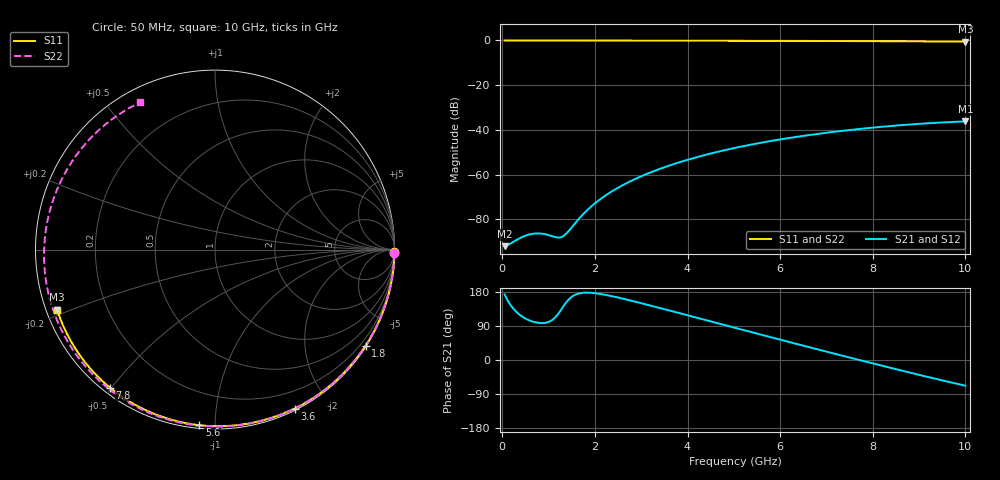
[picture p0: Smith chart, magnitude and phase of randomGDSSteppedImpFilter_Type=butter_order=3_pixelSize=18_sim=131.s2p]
! freq	dB(S11)	phase(S11)	dB(S12)	phase(S12)
!  dB(S21)	phase(S21)	dB(S22)	phase(S22)
!S-par simulation data
#  GHz  S  DB  R 50
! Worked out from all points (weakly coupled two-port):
!   200 points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, 50 MHz to 10 GHz, reference 50 ohm
!   highest |S21| = -36.20 dB at 10 GHz (marker M1); lowest = -92.0 dB at 50 MHz (marker M2)
!   lowest |S11| = -0.5 dB at 10 GHz (marker M3), VSWR 32.84, Z = 1.57 - j9.17 ohm
!   |S11| at or under -10 dB: nowhere
!   |S22| runs from -0.7 to 0.0 dB; largest |S21 - S12| = 0
!   S11 on the Smith chart (normalised r, x): 50 MHz: open; 1.8 GHz: 0.03, -3.42; 3.6 GHz: 0.02, -1.62; 5.6 GHz: 0.02, -0.92; 7.8 GHz: 0.02, -0.49; 10 GHz: 0.03, -0.18
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0.05  -0.00 -0.9  -91.96 173.2  -91.96 173.2  -0.00 -1.2
0.8  -0.02 -14.7  -86.27 97.7  -86.27 97.7  -0.02 -19.3
1.6  -0.04 -29.0  -81.02 173.4  -81.02 173.4  -0.05 -38.3
1.65  -0.04 -29.9  -79.82 175.4  -79.82 175.4  -0.05 -39.4
1.75  -0.04 -31.7  -77.57 177.4  -77.57 177.4  -0.05 -41.8
1.8  -0.04 -32.6  -76.52 177.7  -76.52 177.7  -0.05 -42.9
2.1  -0.05 -37.9  -71.19 174.6  -71.19 174.6  -0.06 -49.9
2.45  -0.06 -44.0  -66.41 166.2  -66.41 166.2  -0.07 -57.9
2.9  -0.07 -51.7  -61.62 153.0  -61.62 153.0  -0.09 -68.1
3.4  -0.08 -60.1  -57.41 137.3  -57.41 137.3  -0.10 -79.2
3.6  -0.09 -63.4  -55.96 130.9  -55.96 130.9  -0.11 -83.6
4.3  -0.11 -74.8  -51.61 108.4  -51.61 108.4  -0.14 -98.8
5.05  -0.13 -86.6  -47.91 84.2  -47.91 84.2  -0.18 -115.0
5.6  -0.16 -95.0  -45.67 66.5  -45.67 66.5  -0.21 -126.8
6.7  -0.22 -111.4  -42.07 31.5  -42.07 31.5  -0.30 -151.1
7.25  -0.25 -119.4  -40.63 14.2  -40.63 14.2  -0.35 -163.9
7.8  -0.30 -127.3  -39.37 -2.8  -39.37 -2.8  -0.41 -177.3
8.35  -0.35 -135.2  -38.30 -19.7  -38.30 -19.7  -0.48 168.3
8.8  -0.39 -141.7  -37.56 -33.3  -37.56 -33.3  -0.54 155.6
9.2  -0.43 -147.4  -37.00 -45.1  -37.00 -45.1  -0.60 143.6
9.6  -0.48 -153.3  -36.55 -56.7  -36.55 -56.7  -0.66 130.7
10  -0.53 -159.2  -36.20 -67.8  -36.20 -67.8  -0.72 116.8
